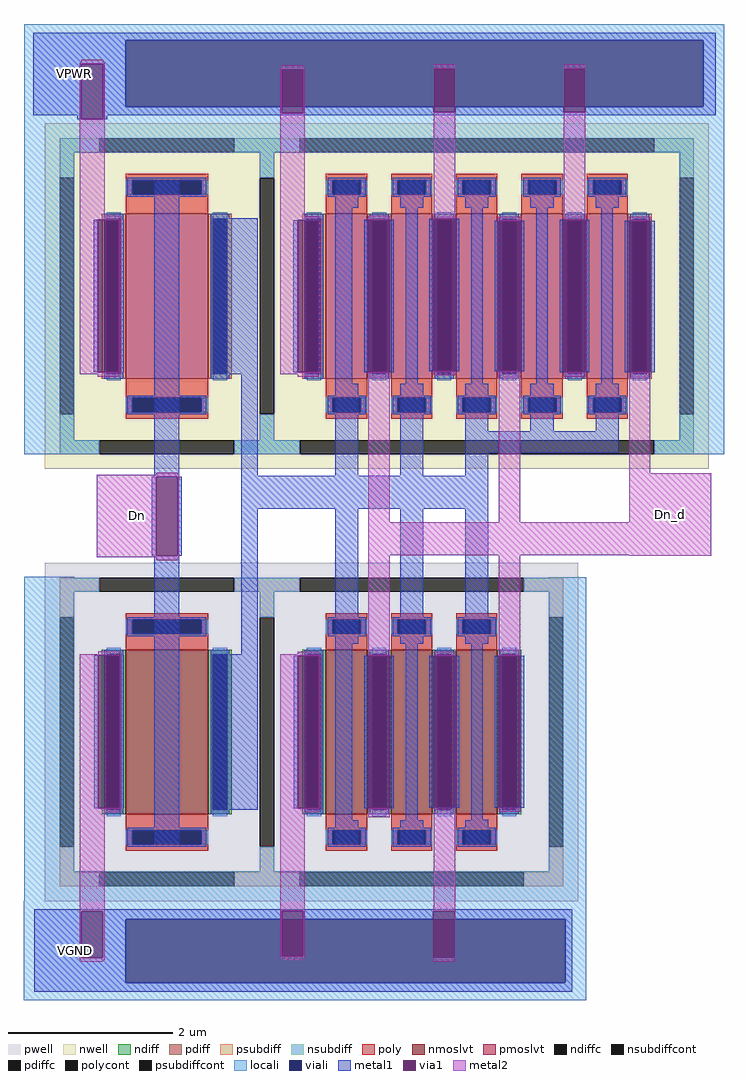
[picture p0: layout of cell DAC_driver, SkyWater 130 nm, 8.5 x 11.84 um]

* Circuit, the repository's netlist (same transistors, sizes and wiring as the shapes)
** sch_path: /home/ttuser/Desktop/DAC_driver.sch
.subckt DAC_driver VPWR Dn_d Dn VGND
*.PININFO Dn_d:O Dn:I VPWR:I VGND:I
XM19 Dn_d net1 VGND VGND sky130_fd_pr__nfet_01v8_lvt L=0.5 W=6 nf=3 m=1
XM20 Dn_d net1 VPWR VPWR sky130_fd_pr__pfet_01v8_lvt L=0.5 W=10 nf=5 m=1
XM27 net1 Dn VGND VGND sky130_fd_pr__nfet_01v8_lvt L=1 W=2 nf=1 m=1
XM28 net1 Dn VPWR VPWR sky130_fd_pr__pfet_01v8_lvt L=1 W=2 nf=1 m=1
.ends
.end

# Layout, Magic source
magic
tech sky130A
magscale 1 2
<< locali >>
rect 760 1145 2458 1185
rect 760 984 1006 1145
rect 2407 984 2458 1145
rect 760 873 2458 984
rect 760 141 881 873
rect 2349 141 2458 873
rect 760 -870 882 -156
rect 2032 -870 2123 -157
rect 760 -942 2123 -870
rect 759 -986 2123 -942
rect 759 -1140 1007 -986
rect 2072 -1140 2123 -986
rect 759 -1182 2123 -1140
<< viali >>
rect 1006 984 2407 1145
rect 1007 -1140 2072 -986
<< metal1 >>
rect 782 1145 2437 1164
rect 782 1088 1006 1145
rect 782 964 899 1088
rect 889 954 899 964
rect 952 984 1006 1088
rect 2407 984 2437 1145
rect 952 968 1385 984
rect 1437 971 1753 984
rect 1805 971 2069 984
rect 2121 971 2437 984
rect 1437 968 2437 971
rect 952 964 2437 968
rect 952 954 962 964
rect 929 340 939 710
rect 991 340 1001 710
rect 1076 87 1136 807
rect 1514 739 1570 807
rect 1672 739 1728 807
rect 1830 739 1886 807
rect 1988 739 2044 807
rect 2146 739 2202 807
rect 1217 336 1326 714
rect 1413 340 1423 709
rect 1475 340 1485 709
rect 1286 89 1326 336
rect 1514 312 1556 739
rect 1585 341 1595 710
rect 1647 341 1657 710
rect 1686 312 1714 739
rect 1743 343 1753 713
rect 1805 343 1815 713
rect 1844 312 1872 739
rect 1901 343 1911 708
rect 1963 343 1973 708
rect 2002 312 2030 739
rect 2059 340 2069 710
rect 2121 340 2131 710
rect 2160 312 2188 739
rect 2217 341 2227 708
rect 2279 341 2289 708
rect 1514 89 1570 312
rect 1672 89 1728 312
rect 1830 197 1886 312
rect 1988 197 2044 312
rect 2146 197 2202 312
rect 1830 145 2202 197
rect 1830 89 1886 145
rect 1070 -105 1080 87
rect 1132 -105 1142 87
rect 1286 9 1886 89
rect 930 -717 940 -346
rect 992 -717 1002 -346
rect 1076 -805 1136 -105
rect 1286 -343 1326 9
rect 1217 -721 1326 -343
rect 1514 -318 1570 9
rect 1672 -318 1728 9
rect 1830 -318 1886 9
rect 1414 -717 1424 -347
rect 1476 -717 1486 -347
rect 1514 -746 1556 -318
rect 1585 -717 1595 -347
rect 1647 -717 1657 -347
rect 1686 -746 1714 -318
rect 1743 -716 1753 -347
rect 1805 -716 1815 -347
rect 1844 -745 1872 -318
rect 1901 -716 1911 -347
rect 1963 -716 1973 -347
rect 1844 -746 1886 -745
rect 1514 -805 1570 -746
rect 1672 -805 1728 -746
rect 1830 -805 1886 -746
rect 785 -965 2089 -962
rect 785 -967 1385 -965
rect 785 -1079 899 -967
rect 951 -986 1385 -967
rect 1437 -967 2089 -965
rect 1437 -986 1752 -967
rect 1804 -986 2089 -967
rect 951 -1079 1007 -986
rect 785 -1140 1007 -1079
rect 2072 -1140 2089 -986
rect 785 -1162 2089 -1140
<< via1 >>
rect 899 954 952 1088
rect 1385 984 1437 1075
rect 1753 984 1805 1077
rect 2069 984 2121 1077
rect 1385 968 1437 984
rect 1753 971 1805 984
rect 2069 971 2121 984
rect 939 340 991 710
rect 1423 340 1475 709
rect 1595 341 1647 710
rect 1753 343 1805 713
rect 1911 343 1963 708
rect 2069 340 2121 710
rect 2227 341 2279 708
rect 1080 -105 1132 87
rect 940 -717 992 -346
rect 1424 -717 1476 -347
rect 1595 -717 1647 -347
rect 1753 -716 1805 -347
rect 1911 -716 1963 -347
rect 899 -1079 951 -967
rect 1385 -986 1437 -965
rect 1752 -986 1804 -967
rect 1385 -1076 1437 -986
rect 1752 -1079 1804 -986
<< metal2 >>
rect 899 1091 952 1098
rect 895 1088 955 1091
rect 895 954 899 1088
rect 952 954 955 1088
rect 1385 1078 1437 1085
rect 895 720 955 954
rect 1381 1075 1441 1078
rect 1381 968 1385 1075
rect 1437 968 1441 1075
rect 895 714 991 720
rect 1381 719 1441 968
rect 1753 1077 1805 1087
rect 1381 714 1475 719
rect 895 710 995 714
rect 895 340 939 710
rect 991 340 995 710
rect 895 336 995 340
rect 1381 709 1481 714
rect 1381 340 1423 709
rect 1475 340 1481 709
rect 1381 336 1481 340
rect 1595 710 1647 720
rect 939 330 991 336
rect 1423 330 1475 336
rect 1080 92 1132 97
rect 936 87 1136 92
rect 936 -105 1080 87
rect 1132 -105 1136 87
rect 1595 -23 1647 341
rect 1753 713 1805 971
rect 2069 1077 2121 1087
rect 1753 333 1805 343
rect 1911 708 1963 718
rect 1911 -23 1963 343
rect 2069 710 2121 971
rect 2069 330 2121 340
rect 2227 708 2279 718
rect 2227 96 2279 341
rect 2227 -23 2427 96
rect 1594 -103 2427 -23
rect 936 -108 1136 -105
rect 1080 -115 1132 -108
rect 940 -343 992 -336
rect 1424 -343 1476 -337
rect 895 -346 995 -343
rect 895 -717 940 -346
rect 992 -717 995 -346
rect 895 -721 995 -717
rect 1381 -347 1481 -343
rect 1381 -717 1424 -347
rect 1476 -717 1481 -347
rect 1381 -721 1481 -717
rect 1595 -347 1647 -103
rect 895 -727 992 -721
rect 1381 -727 1476 -721
rect 895 -967 955 -727
rect 895 -1079 899 -967
rect 951 -1079 955 -967
rect 895 -1085 955 -1079
rect 1381 -965 1441 -727
rect 1595 -739 1647 -717
rect 1753 -347 1805 -337
rect 1753 -957 1805 -716
rect 1911 -347 1963 -103
rect 2227 -104 2427 -103
rect 1911 -726 1963 -716
rect 1381 -1076 1385 -965
rect 1437 -1076 1441 -965
rect 1381 -1081 1441 -1076
rect 1752 -967 1805 -957
rect 1804 -1079 1805 -967
rect 899 -1089 951 -1085
rect 1385 -1086 1437 -1081
rect 1752 -1089 1804 -1079
use sky130_fd_pr__nfet_01v8_lvt_56BWKP  XM19
transform 1 0 1700 0 1 -532
box -404 -410 404 410
use sky130_fd_pr__pfet_01v8_lvt_X33VY6  XM20
transform 1 0 1858 0 1 525
box -562 -419 562 419
use sky130_fd_pr__nfet_01v8_lvt_QGMAL3  XM27
transform 1 0 1106 0 1 -532
box -296 -410 296 410
use sky130_fd_pr__pfet_01v8_lvt_3VC8VM  XM28
transform 1 0 1106 0 1 525
box -296 -419 296 419
<< labels >>
flabel metal1 785 -1162 985 -962 0 FreeSans 256 0 0 0 VGND
port 3 nsew
flabel metal1 782 964 982 1164 0 FreeSans 256 0 0 0 VPWR
port 2 nsew
flabel metal2 936 -108 1136 92 0 FreeSans 256 0 0 0 Dn
port 1 nsew
flabel metal2 2227 -104 2427 96 0 FreeSans 256 0 0 0 Dn_d
port 0 nsew
<< end >>

# cell sky130_fd_pr__nfet_01v8_lvt_56BWKP: kit device sky130_fd_pr__nfet_01v8_lvt, w 2.0 l 0.5 m 1 nf 3 diffcov 100 polycov 100 guard 1 glc 1 grc 1 gtc 1 gbc 1 tbcov 100 rlcov 100 topc 1 botc 1 poverlap 0 doverlap 1 lmin 0.15 wmin 0.42 compatible {sky130_fd_pr__nfet_01v8 sky130_fd_pr__nfet_01v8_lvt sky130_fd_bs_flash__special_sonosfet_star sky130_fd_pr__nfet_g5v0d10v5 sky130_fd_pr__nfet_05v0_nvt sky130_fd_pr__nfet_03v3_nvt} full_metal 1 viasrc 100 viadrn 100 viagate 100 viagb 0 viagr 0 viagl 0 viagt 0

# cell sky130_fd_pr__pfet_01v8_lvt_X33VY6: kit device sky130_fd_pr__pfet_01v8_lvt, w 2.0 l 0.5 m 1 nf 5 diffcov 100 polycov 100 guard 1 glc 1 grc 1 gtc 1 gbc 1 tbcov 100 rlcov 100 topc 1 botc 1 poverlap 0 doverlap 1 lmin 0.35 wmin 0.42 compatible {sky130_fd_pr__pfet_01v8 sky130_fd_pr__pfet_01v8_lvt sky130_fd_pr__pfet_01v8_hvt sky130_fd_pr__pfet_g5v0d10v5} full_metal 1 viasrc 100 viadrn 100 viagate 100 viagb 0 viagr 0 viagl 0 viagt 0

# cell sky130_fd_pr__nfet_01v8_lvt_QGMAL3: kit device sky130_fd_pr__nfet_01v8_lvt, w 2.0 l 1.0 m 1 nf 1 diffcov 100 polycov 100 guard 1 glc 1 grc 1 gtc 1 gbc 1 tbcov 100 rlcov 100 topc 1 botc 1 poverlap 0 doverlap 1 lmin 0.15 wmin 0.42 compatible {sky130_fd_pr__nfet_01v8 sky130_fd_pr__nfet_01v8_lvt sky130_fd_bs_flash__special_sonosfet_star sky130_fd_pr__nfet_g5v0d10v5 sky130_fd_pr__nfet_05v0_nvt sky130_fd_pr__nfet_03v3_nvt} full_metal 1 viasrc 100 viadrn 100 viagate 100 viagb 0 viagr 0 viagl 0 viagt 0

# cell sky130_fd_pr__pfet_01v8_lvt_3VC8VM: kit device sky130_fd_pr__pfet_01v8_lvt, w 2.0 l 1.0 m 1 nf 1 diffcov 100 polycov 100 guard 1 glc 1 grc 1 gtc 1 gbc 1 tbcov 100 rlcov 100 topc 1 botc 1 poverlap 0 doverlap 1 lmin 0.35 wmin 0.42 compatible {sky130_fd_pr__pfet_01v8 sky130_fd_pr__pfet_01v8_lvt sky130_fd_pr__pfet_01v8_hvt sky130_fd_pr__pfet_g5v0d10v5} full_metal 1 viasrc 100 viadrn 100 viagate 100 viagb 0 viagr 0 viagl 0 viagt 0
